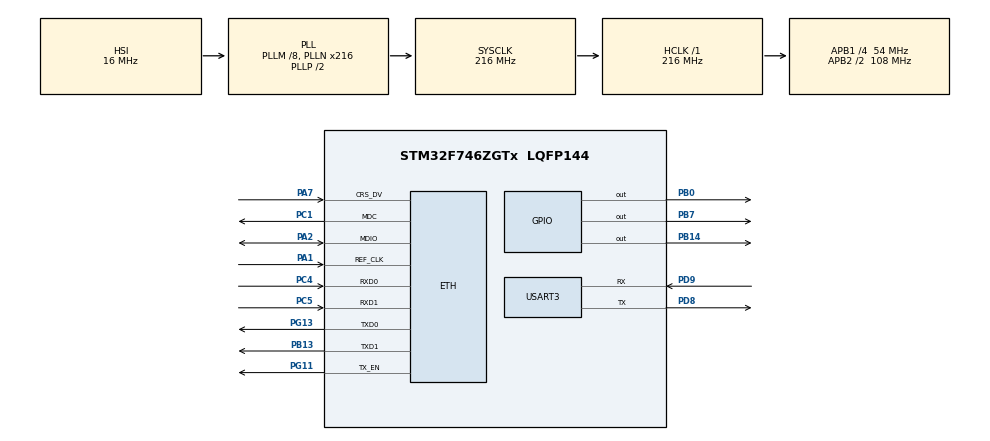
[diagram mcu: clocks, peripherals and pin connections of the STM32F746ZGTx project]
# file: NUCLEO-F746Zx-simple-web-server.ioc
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ETH.MediaInterface=HAL_ETH_RMII_MODE
FREERTOS.Tasks01=defaultTask,0,512,StartDefaultTask,Default,NULL,Dynamic,NULL,NULL
FREERTOS.configUSE_NEWLIB_REENTRANT=1
LWIP.BSP.number=1
LWIP.GATEWAY_ADDRESS=192.168.000.002
LWIP.IP_ADDRESS=192.168.000.010
LWIP.LWIP_DHCP=0
LWIP.NETMASK_ADDRESS=255.255.255.000
LWIP.Version=v2.1.2_Cube
LWIP0.BSP.STBoard=false
LWIP0.BSP.api=BSP_COMPONENT_DRIVER
LWIP0.BSP.component=LAN8742
LWIP0.BSP.instance=LAN8742
LWIP0.BSP.name=Driver_PHY
LWIP0.BSP.semaphore=S_LAN8742
LWIP0.BSP.solution=LAN8742
Mcu.Family=STM32F7
Mcu.Name=STM32F746ZGTx
Mcu.Package=LQFP144
NVIC.ETH_IRQn=true\:5\:0\:false\:false\:true\:true\:true\:true\:true
NVIC.PriorityGroup=NVIC_PRIORITYGROUP_4
NVIC.TIM6_DAC_IRQn=true\:15\:0\:false\:false\:true\:false\:false\:true\:true
NVIC.TimeBase=TIM6_DAC_IRQn
NVIC.TimeBaseIP=TIM6
PA1.Mode=RMII
PA1.Signal=ETH_REF_CLK
PA2.Mode=RMII
PA2.Signal=ETH_MDIO
PA7.Mode=RMII
PA7.Signal=ETH_CRS_DV
PB0.Signal=GPIO_Output
PB13.Mode=RMII
PB13.Signal=ETH_TXD1
PB14.Signal=GPIO_Output
PB7.Signal=GPIO_Output
PC1.Mode=RMII
PC1.Signal=ETH_MDC
PC4.Mode=RMII
PC4.Signal=ETH_RXD0
PC5.Mode=RMII
PC5.Signal=ETH_RXD1
PD8.Mode=Asynchronous
PD8.Signal=USART3_TX
PD9.Mode=Asynchronous
PD9.Signal=USART3_RX
PG11.Mode=RMII
PG11.Signal=ETH_TX_EN
PG13.Mode=RMII
PG13.Signal=ETH_TXD0
ProjectManager.HeapSize=0x200
ProjectManager.StackSize=0x400
ProjectManager.TargetToolchain=STM32CubeIDE
RCC.AHBFreq_Value=216000000
RCC.APB1CLKDivider=RCC_HCLK_DIV4
RCC.APB1Freq_Value=54000000
RCC.APB1TimFreq_Value=108000000
RCC.APB2CLKDivider=RCC_HCLK_DIV2
RCC.APB2Freq_Value=108000000
RCC.APB2TimFreq_Value=216000000
RCC.CortexFreq_Value=216000000
RCC.HCLKFreq_Value=216000000
RCC.HSE_VALUE=25000000
RCC.HSI_VALUE=16000000
RCC.LSE_VALUE=32768
RCC.PLLM=8
RCC.PLLN=216
RCC.SYSCLKFreq_VALUE=216000000
RCC.SYSCLKSource=RCC_SYSCLKSOURCE_PLLCLK
RCC.USBFreq_Value=216000000
RCC.VCOOutputFreq_Value=432000000
USART3.VirtualMode-Asynchronous=VM_ASYNC
VP_FREERTOS_VS_CMSIS_V1.Mode=CMSIS_V1
VP_LWIP_VS_Enabled.Mode=Enabled
VP_SYS_VS_tim6.Mode=TIM6
board=custom

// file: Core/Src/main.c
/* USER CODE BEGIN Header */
/**
  ******************************************************************************
  * @file           : main.c
  * @brief          : Main program body
  ******************************************************************************
  * @attention
  *
  * Copyright (c) 2022 STMicroelectronics.
  * All rights reserved.
  *
  * This software is licensed under terms that can be found in the LICENSE file
  * in the root directory of this software component.
  * If no LICENSE file comes with this software, it is provided AS-IS.
  *
  ******************************************************************************
  */
/* USER CODE END Header */
#include "main.h"
#include "cmsis_os.h"
#include "lwip.h"

/* USER CODE BEGIN Includes */
#include "mongoose.h"
/* USER CODE END Includes */

UART_HandleTypeDef huart3;

osThreadId defaultTaskHandle;

void SystemClock_Config(void);
static void MX_GPIO_Init(void);
static void MX_USART3_UART_Init(void);
void StartDefaultTask(void const * argument);

/* USER CODE BEGIN 0 */

static void fn(struct mg_connection *c, int ev, void *ev_data, void *fn_data) {
  if (ev == MG_EV_HTTP_MSG) mg_http_reply(c, 200, "", "ok\n");
}

/* USER CODE END 0 */

int main(void)
{

  /* MCU Configuration--------------------------------------------------------*/

  /* Reset of all peripherals, Initializes the Flash interface and the Systick. */
  HAL_Init();

  /* Configure the system clock */
  SystemClock_Config();

  /* Initialize all configured peripherals */
  MX_GPIO_Init();
  MX_USART3_UART_Init();

  /* Create the thread(s) */
  /* definition and creation of defaultTask */
  osThreadDef(defaultTask, StartDefaultTask, osPriorityNormal, 0, 512);
  defaultTaskHandle = osThreadCreate(osThread(defaultTask), NULL);

  /* Start scheduler */
  osKernelStart();

  /* We should never get here as control is now taken by the scheduler */
  /* Infinite loop */
  while (1)
  {

  }
}

void SystemClock_Config(void)
{
  RCC_OscInitTypeDef RCC_OscInitStruct = {0};
  RCC_ClkInitTypeDef RCC_ClkInitStruct = {0};

  /** Configure the main internal regulator output voltage
  */
  __HAL_RCC_PWR_CLK_ENABLE();
  __HAL_PWR_VOLTAGESCALING_CONFIG(PWR_REGULATOR_VOLTAGE_SCALE1);

  /** Initializes the RCC Oscillators according to the specified parameters
  * in the RCC_OscInitTypeDef structure.
  */
  RCC_OscInitStruct.OscillatorType = RCC_OSCILLATORTYPE_HSI;
  RCC_OscInitStruct.HSIState = RCC_HSI_ON;
  RCC_OscInitStruct.HSICalibrationValue = RCC_HSICALIBRATION_DEFAULT;
  RCC_OscInitStruct.PLL.PLLState = RCC_PLL_ON;
  RCC_OscInitStruct.PLL.PLLSource = RCC_PLLSOURCE_HSI;
  RCC_OscInitStruct.PLL.PLLM = 8;
  RCC_OscInitStruct.PLL.PLLN = 216;
  RCC_OscInitStruct.PLL.PLLP = RCC_PLLP_DIV2;
  RCC_OscInitStruct.PLL.PLLQ = 2;
  if (HAL_RCC_OscConfig(&RCC_OscInitStruct) != HAL_OK)
  {
    Error_Handler();
  }

  /** Activate the Over-Drive mode
  */
  if (HAL_PWREx_EnableOverDrive() != HAL_OK)
  {
    Error_Handler();
  }

  /** Initializes the CPU, AHB and APB buses clocks
  */
  RCC_ClkInitStruct.ClockType = RCC_CLOCKTYPE_HCLK|RCC_CLOCKTYPE_SYSCLK
                              |RCC_CLOCKTYPE_PCLK1|RCC_CLOCKTYPE_PCLK2;
  RCC_ClkInitStruct.SYSCLKSource = RCC_SYSCLKSOURCE_PLLCLK;
  RCC_ClkInitStruct.AHBCLKDivider = RCC_SYSCLK_DIV1;
  RCC_ClkInitStruct.APB1CLKDivider = RCC_HCLK_DIV4;
  RCC_ClkInitStruct.APB2CLKDivider = RCC_HCLK_DIV2;

  if (HAL_RCC_ClockConfig(&RCC_ClkInitStruct, FLASH_LATENCY_7) != HAL_OK)
  {
    Error_Handler();
  }
}

static void MX_USART3_UART_Init(void)
{

  huart3.Instance = USART3;
  huart3.Init.BaudRate = 115200;
  huart3.Init.WordLength = UART_WORDLENGTH_8B;
  huart3.Init.StopBits = UART_STOPBITS_1;
  huart3.Init.Parity = UART_PARITY_NONE;
  huart3.Init.Mode = UART_MODE_TX_RX;
  huart3.Init.HwFlowCtl = UART_HWCONTROL_NONE;
  huart3.Init.OverSampling = UART_OVERSAMPLING_16;
  huart3.Init.OneBitSampling = UART_ONE_BIT_SAMPLE_DISABLE;
  huart3.AdvancedInit.AdvFeatureInit = UART_ADVFEATURE_NO_INIT;
  if (HAL_UART_Init(&huart3) != HAL_OK)
  {
    Error_Handler();
  }

}

static void MX_GPIO_Init(void)
{
  GPIO_InitTypeDef GPIO_InitStruct = {0};

  /* GPIO Ports Clock Enable */
  __HAL_RCC_GPIOC_CLK_ENABLE();
  __HAL_RCC_GPIOA_CLK_ENABLE();
  __HAL_RCC_GPIOB_CLK_ENABLE();
  __HAL_RCC_GPIOD_CLK_ENABLE();
  __HAL_RCC_GPIOG_CLK_ENABLE();

  /*Configure GPIO pin Output Level */
  HAL_GPIO_WritePin(GPIOB, GPIO_PIN_0|GPIO_PIN_14|GPIO_PIN_7, GPIO_PIN_RESET);

  /*Configure GPIO pins : PB0 PB14 PB7 */
  GPIO_InitStruct.Pin = GPIO_PIN_0|GPIO_PIN_14|GPIO_PIN_7;
  GPIO_InitStruct.Mode = GPIO_MODE_OUTPUT_PP;
  GPIO_InitStruct.Pull = GPIO_NOPULL;
  GPIO_InitStruct.Speed = GPIO_SPEED_FREQ_LOW;
  HAL_GPIO_Init(GPIOB, &GPIO_InitStruct);

}

void StartDefaultTask(void const * argument)
{
  /* init code for LWIP */
  MX_LWIP_Init();
  /* USER CODE BEGIN 5 */

    extern struct netif gnetif;
  if (netif_is_up(&gnetif))
    HAL_GPIO_WritePin(GPIOB, GPIO_PIN_0, 1);
  else
    HAL_GPIO_WritePin(GPIOB, GPIO_PIN_14, 1);

#define MG_IPADDR_PARTS(ADDR)  \
    *((uint8_t *)ADDR), *((uint8_t *)ADDR + 1), *((uint8_t *)ADDR + 2), *((uint8_t *)ADDR + 3)

  MG_INFO(("IP address: %d.%d.%d.%d\n", MG_IPADDR_PARTS(&gnetif.ip_addr)));

  struct mg_mgr mgr;
  mg_mgr_init(&mgr);

  MG_INFO( ("Starting Mongoose v%s", MG_VERSION)); // Tell the world
  mg_http_listen(&mgr, "http://0.0.0.0", fn, &mgr);
  /* Infinite loop */
  for(;;)
  {
    HAL_GPIO_TogglePin(GPIOB, GPIO_PIN_7);
    mg_mgr_poll(&mgr, 1000);
  }
  /* USER CODE END 5 */
}

void HAL_TIM_PeriodElapsedCallback(TIM_HandleTypeDef *htim)
{
  if (htim->Instance == TIM6) {
    HAL_IncTick();
  }
}

void Error_Handler(void)
{
  __disable_irq();
  while (1)
  {
  }
}
